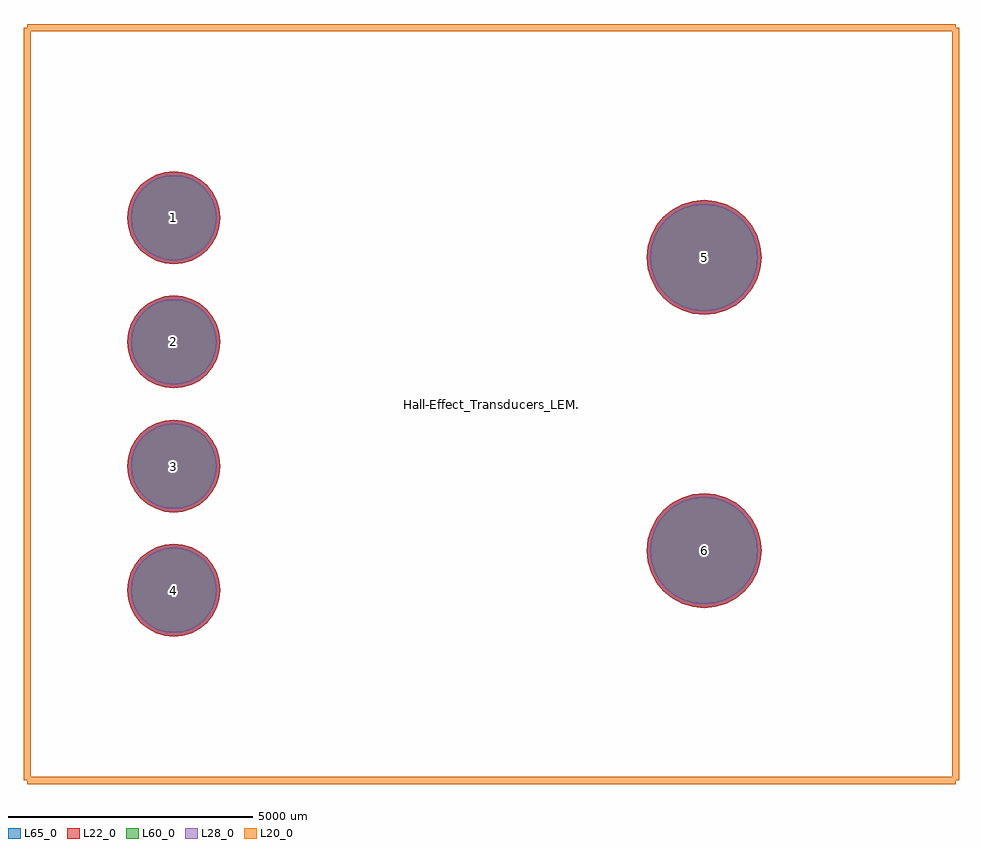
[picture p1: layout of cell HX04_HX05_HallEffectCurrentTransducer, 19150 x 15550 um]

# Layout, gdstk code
import gdstk
lib = gdstk.Library(unit=1e-6, precision=1e-09)
def P(c, l, *ps):  # polygons
    for p in ps: c.add(gdstk.Polygon(p, *l))
L20_0 = (20, 0)
L22_0 = (22, 0)
L28_0 = (28, 0)
L60_0 = (60, 0)
L65_0 = (65, 0)

hx04_hx05_halleffectcurr = lib.new_cell('HX04_HX05_HallEffectCurrentTransducer')
P(hx04_hx05_halleffectcurr, L22_0, [(-5550,-3810),(-5568.254,-3624.664),(-5622.314,-3446.451),(-5710.104,-3282.208),(-5828.249,-3138.249),(-5972.208,-3020.104),(-6136.451,-2932.314),(-6314.664,-2878.254),(-6500,-2860),(-6685.336,-2878.254),(-6863.549,-2932.314),(-7027.792,-3020.104),(-7171.751,-3138.249),(-7289.896,-3282.208),(-7377.686,-3446.451),(-7431.746,-3624.664),(-7450,-3810),(-7431.746,-3995.336),(-7377.686,-4173.549),(-7289.896,-4337.792),(-7171.751,-4481.751),(-7027.792,-4599.896),(-6863.549,-4687.686),(-6685.336,-4741.746),(-6500,-4760),(-6314.664,-4741.746),(-6136.451,-4687.686),(-5972.208,-4599.896),(-5828.249,-4481.751),(-5710.104,-4337.792),(-5622.314,-4173.549),(-5568.254,-3995.336)],
  [(-5550,3810),(-5568.254,3995.336),(-5622.314,4173.549),(-5710.104,4337.792),(-5828.249,4481.751),(-5972.208,4599.896),(-6136.451,4687.686),(-6314.664,4741.746),(-6500,4760),(-6685.336,4741.746),(-6863.549,4687.686),(-7027.792,4599.896),(-7171.751,4481.751),(-7289.896,4337.792),(-7377.686,4173.549),(-7431.746,3995.336),(-7450,3810),(-7431.746,3624.664),(-7377.686,3446.451),(-7289.896,3282.208),(-7171.751,3138.249),(-7027.792,3020.104),(-6863.549,2932.314),(-6685.336,2878.254),(-6500,2860),(-6314.664,2878.254),(-6136.451,2932.314),(-5972.208,3020.104),(-5828.249,3138.249),(-5710.104,3282.208),(-5622.314,3446.451),(-5568.254,3624.664)],
  [(-5550,1270),(-5568.254,1455.336),(-5622.314,1633.549),(-5710.104,1797.792),(-5828.249,1941.751),(-5972.208,2059.896),(-6136.451,2147.686),(-6314.664,2201.746),(-6500,2220),(-6685.336,2201.746),(-6863.549,2147.686),(-7027.792,2059.896),(-7171.751,1941.751),(-7289.896,1797.792),(-7377.686,1633.549),(-7431.746,1455.336),(-7450,1270),(-7431.746,1084.664),(-7377.686,906.451),(-7289.896,742.208),(-7171.751,598.249),(-7027.792,480.104),(-6863.549,392.314),(-6685.336,338.254),(-6500,320),(-6314.664,338.254),(-6136.451,392.314),(-5972.208,480.104),(-5828.249,598.249),(-5710.104,742.208),(-5622.314,906.451),(-5568.254,1084.664)],
  [(-5550,-1270),(-5568.254,-1084.664),(-5622.314,-906.451),(-5710.104,-742.208),(-5828.249,-598.249),(-5972.208,-480.104),(-6136.451,-392.314),(-6314.664,-338.254),(-6500,-320),(-6685.336,-338.254),(-6863.549,-392.314),(-7027.792,-480.104),(-7171.751,-598.249),(-7289.896,-742.208),(-7377.686,-906.451),(-7431.746,-1084.664),(-7450,-1270),(-7431.746,-1455.336),(-7377.686,-1633.549),(-7289.896,-1797.792),(-7171.751,-1941.751),(-7027.792,-2059.896),(-6863.549,-2147.686),(-6685.336,-2201.746),(-6500,-2220),(-6314.664,-2201.746),(-6136.451,-2147.686),(-5972.208,-2059.896),(-5828.249,-1941.751),(-5710.104,-1797.792),(-5622.314,-1633.549),(-5568.254,-1455.336)],
  [(5525,-3000),(5502.423,-2770.769),(5435.558,-2550.347),(5326.977,-2347.205),(5180.85,-2169.15),(5002.795,-2023.023),(4799.653,-1914.442),(4579.231,-1847.577),(4350,-1825),(4120.769,-1847.577),(3900.347,-1914.442),(3697.205,-2023.023),(3519.15,-2169.15),(3373.023,-2347.205),(3264.442,-2550.347),(3197.577,-2770.769),(3175,-3000),(3197.577,-3229.231),(3264.442,-3449.653),(3373.023,-3652.795),(3519.15,-3830.85),(3697.205,-3976.977),(3900.347,-4085.558),(4120.769,-4152.423),(4350,-4175),(4579.231,-4152.423),(4799.653,-4085.558),(5002.795,-3976.977),(5180.85,-3830.85),(5326.977,-3652.795),(5435.558,-3449.653),(5502.423,-3229.231)],
  [(5525,3000),(5502.423,3229.231),(5435.558,3449.653),(5326.977,3652.795),(5180.85,3830.85),(5002.795,3976.977),(4799.653,4085.558),(4579.231,4152.423),(4350,4175),(4120.769,4152.423),(3900.347,4085.558),(3697.205,3976.977),(3519.15,3830.85),(3373.023,3652.795),(3264.442,3449.653),(3197.577,3229.231),(3175,3000),(3197.577,2770.769),(3264.442,2550.347),(3373.023,2347.205),(3519.15,2169.15),(3697.205,2023.023),(3900.347,1914.442),(4120.769,1847.577),(4350,1825),(4579.231,1847.577),(4799.653,1914.442),(5002.795,2023.023),(5180.85,2169.15),(5326.977,2347.205),(5435.558,2550.347),(5502.423,2770.769)])
P(hx04_hx05_halleffectcurr, L28_0, [(-5625,-3810),(-5641.813,-3639.296),(-5691.605,-3475.152),(-5772.464,-3323.876),(-5881.282,-3191.282),(-6013.876,-3082.464),(-6165.152,-3001.605),(-6329.296,-2951.813),(-6500,-2935),(-6670.704,-2951.813),(-6834.848,-3001.605),(-6986.124,-3082.464),(-7118.718,-3191.282),(-7227.536,-3323.876),(-7308.395,-3475.152),(-7358.187,-3639.296),(-7375,-3810),(-7358.187,-3980.704),(-7308.395,-4144.848),(-7227.536,-4296.124),(-7118.718,-4428.718),(-6986.124,-4537.536),(-6834.848,-4618.395),(-6670.704,-4668.187),(-6500,-4685),(-6329.296,-4668.187),(-6165.152,-4618.395),(-6013.876,-4537.536),(-5881.282,-4428.718),(-5772.464,-4296.124),(-5691.605,-4144.848),(-5641.813,-3980.704)],
  [(-5625,3810),(-5641.813,3980.704),(-5691.605,4144.848),(-5772.464,4296.124),(-5881.282,4428.718),(-6013.876,4537.536),(-6165.152,4618.395),(-6329.296,4668.187),(-6500,4685),(-6670.704,4668.187),(-6834.848,4618.395),(-6986.124,4537.536),(-7118.718,4428.718),(-7227.536,4296.124),(-7308.395,4144.848),(-7358.187,3980.704),(-7375,3810),(-7358.187,3639.296),(-7308.395,3475.152),(-7227.536,3323.876),(-7118.718,3191.282),(-6986.124,3082.464),(-6834.848,3001.605),(-6670.704,2951.813),(-6500,2935),(-6329.296,2951.813),(-6165.152,3001.605),(-6013.876,3082.464),(-5881.282,3191.282),(-5772.464,3323.876),(-5691.605,3475.152),(-5641.813,3639.296)],
  [(-5625,1270),(-5641.813,1440.704),(-5691.605,1604.848),(-5772.464,1756.124),(-5881.282,1888.718),(-6013.876,1997.536),(-6165.152,2078.395),(-6329.296,2128.187),(-6500,2145),(-6670.704,2128.187),(-6834.848,2078.395),(-6986.124,1997.536),(-7118.718,1888.718),(-7227.536,1756.124),(-7308.395,1604.848),(-7358.187,1440.704),(-7375,1270),(-7358.187,1099.296),(-7308.395,935.152),(-7227.536,783.876),(-7118.718,651.282),(-6986.124,542.464),(-6834.848,461.605),(-6670.704,411.813),(-6500,395),(-6329.296,411.813),(-6165.152,461.605),(-6013.876,542.464),(-5881.282,651.282),(-5772.464,783.876),(-5691.605,935.152),(-5641.813,1099.296)],
  [(-5625,-1270),(-5641.813,-1099.296),(-5691.605,-935.152),(-5772.464,-783.876),(-5881.282,-651.282),(-6013.876,-542.464),(-6165.152,-461.605),(-6329.296,-411.813),(-6500,-395),(-6670.704,-411.813),(-6834.848,-461.605),(-6986.124,-542.464),(-7118.718,-651.282),(-7227.536,-783.876),(-7308.395,-935.152),(-7358.187,-1099.296),(-7375,-1270),(-7358.187,-1440.704),(-7308.395,-1604.848),(-7227.536,-1756.124),(-7118.718,-1888.718),(-6986.124,-1997.536),(-6834.848,-2078.395),(-6670.704,-2128.187),(-6500,-2145),(-6329.296,-2128.187),(-6165.152,-2078.395),(-6013.876,-1997.536),(-5881.282,-1888.718),(-5772.464,-1756.124),(-5691.605,-1604.848),(-5641.813,-1440.704)],
  [(5450,-3000),(5428.864,-2785.401),(5366.267,-2579.048),(5264.617,-2388.873),(5127.817,-2222.183),(4961.127,-2085.383),(4770.952,-1983.733),(4564.599,-1921.136),(4350,-1900),(4135.401,-1921.136),(3929.048,-1983.733),(3738.873,-2085.383),(3572.183,-2222.183),(3435.383,-2388.873),(3333.733,-2579.048),(3271.136,-2785.401),(3250,-3000),(3271.136,-3214.599),(3333.733,-3420.952),(3435.383,-3611.127),(3572.183,-3777.817),(3738.873,-3914.617),(3929.048,-4016.267),(4135.401,-4078.864),(4350,-4100),(4564.599,-4078.864),(4770.952,-4016.267),(4961.127,-3914.617),(5127.817,-3777.817),(5264.617,-3611.127),(5366.267,-3420.952),(5428.864,-3214.599)],
  [(5450,3000),(5428.864,3214.599),(5366.267,3420.952),(5264.617,3611.127),(5127.817,3777.817),(4961.127,3914.617),(4770.952,4016.267),(4564.599,4078.864),(4350,4100),(4135.401,4078.864),(3929.048,4016.267),(3738.873,3914.617),(3572.183,3777.817),(3435.383,3611.127),(3333.733,3420.952),(3271.136,3214.599),(3250,3000),(3271.136,2785.401),(3333.733,2579.048),(3435.383,2388.873),(3572.183,2222.183),(3738.873,2085.383),(3929.048,1983.733),(4135.401,1921.136),(4350,1900),(4564.599,1921.136),(4770.952,1983.733),(4961.127,2085.383),(5127.817,2222.183),(5264.617,2388.873),(5366.267,2579.048),(5428.864,2785.401)])
P(hx04_hx05_halleffectcurr, L60_0, [(-5625,-3810),(-5641.813,-3639.296),(-5691.605,-3475.152),(-5772.464,-3323.876),(-5881.282,-3191.282),(-6013.876,-3082.464),(-6165.152,-3001.605),(-6329.296,-2951.813),(-6500,-2935),(-6670.704,-2951.813),(-6834.848,-3001.605),(-6986.124,-3082.464),(-7118.718,-3191.282),(-7227.536,-3323.876),(-7308.395,-3475.152),(-7358.187,-3639.296),(-7375,-3810),(-7358.187,-3980.704),(-7308.395,-4144.848),(-7227.536,-4296.124),(-7118.718,-4428.718),(-6986.124,-4537.536),(-6834.848,-4618.395),(-6670.704,-4668.187),(-6500,-4685),(-6329.296,-4668.187),(-6165.152,-4618.395),(-6013.876,-4537.536),(-5881.282,-4428.718),(-5772.464,-4296.124),(-5691.605,-4144.848),(-5641.813,-3980.704)],
  [(-5625,3810),(-5641.813,3980.704),(-5691.605,4144.848),(-5772.464,4296.124),(-5881.282,4428.718),(-6013.876,4537.536),(-6165.152,4618.395),(-6329.296,4668.187),(-6500,4685),(-6670.704,4668.187),(-6834.848,4618.395),(-6986.124,4537.536),(-7118.718,4428.718),(-7227.536,4296.124),(-7308.395,4144.848),(-7358.187,3980.704),(-7375,3810),(-7358.187,3639.296),(-7308.395,3475.152),(-7227.536,3323.876),(-7118.718,3191.282),(-6986.124,3082.464),(-6834.848,3001.605),(-6670.704,2951.813),(-6500,2935),(-6329.296,2951.813),(-6165.152,3001.605),(-6013.876,3082.464),(-5881.282,3191.282),(-5772.464,3323.876),(-5691.605,3475.152),(-5641.813,3639.296)],
  [(-5625,1270),(-5641.813,1440.704),(-5691.605,1604.848),(-5772.464,1756.124),(-5881.282,1888.718),(-6013.876,1997.536),(-6165.152,2078.395),(-6329.296,2128.187),(-6500,2145),(-6670.704,2128.187),(-6834.848,2078.395),(-6986.124,1997.536),(-7118.718,1888.718),(-7227.536,1756.124),(-7308.395,1604.848),(-7358.187,1440.704),(-7375,1270),(-7358.187,1099.296),(-7308.395,935.152),(-7227.536,783.876),(-7118.718,651.282),(-6986.124,542.464),(-6834.848,461.605),(-6670.704,411.813),(-6500,395),(-6329.296,411.813),(-6165.152,461.605),(-6013.876,542.464),(-5881.282,651.282),(-5772.464,783.876),(-5691.605,935.152),(-5641.813,1099.296)],
  [(-5625,-1270),(-5641.813,-1099.296),(-5691.605,-935.152),(-5772.464,-783.876),(-5881.282,-651.282),(-6013.876,-542.464),(-6165.152,-461.605),(-6329.296,-411.813),(-6500,-395),(-6670.704,-411.813),(-6834.848,-461.605),(-6986.124,-542.464),(-7118.718,-651.282),(-7227.536,-783.876),(-7308.395,-935.152),(-7358.187,-1099.296),(-7375,-1270),(-7358.187,-1440.704),(-7308.395,-1604.848),(-7227.536,-1756.124),(-7118.718,-1888.718),(-6986.124,-1997.536),(-6834.848,-2078.395),(-6670.704,-2128.187),(-6500,-2145),(-6329.296,-2128.187),(-6165.152,-2078.395),(-6013.876,-1997.536),(-5881.282,-1888.718),(-5772.464,-1756.124),(-5691.605,-1604.848),(-5641.813,-1440.704)],
  [(5450,-3000),(5428.864,-2785.401),(5366.267,-2579.048),(5264.617,-2388.873),(5127.817,-2222.183),(4961.127,-2085.383),(4770.952,-1983.733),(4564.599,-1921.136),(4350,-1900),(4135.401,-1921.136),(3929.048,-1983.733),(3738.873,-2085.383),(3572.183,-2222.183),(3435.383,-2388.873),(3333.733,-2579.048),(3271.136,-2785.401),(3250,-3000),(3271.136,-3214.599),(3333.733,-3420.952),(3435.383,-3611.127),(3572.183,-3777.817),(3738.873,-3914.617),(3929.048,-4016.267),(4135.401,-4078.864),(4350,-4100),(4564.599,-4078.864),(4770.952,-4016.267),(4961.127,-3914.617),(5127.817,-3777.817),(5264.617,-3611.127),(5366.267,-3420.952),(5428.864,-3214.599)],
  [(5450,3000),(5428.864,3214.599),(5366.267,3420.952),(5264.617,3611.127),(5127.817,3777.817),(4961.127,3914.617),(4770.952,4016.267),(4564.599,4078.864),(4350,4100),(4135.401,4078.864),(3929.048,4016.267),(3738.873,3914.617),(3572.183,3777.817),(3435.383,3611.127),(3333.733,3420.952),(3271.136,3214.599),(3250,3000),(3271.136,2785.401),(3333.733,2579.048),(3435.383,2388.873),(3572.183,2222.183),(3738.873,2085.383),(3929.048,1983.733),(4135.401,1921.136),(4350,1900),(4564.599,1921.136),(4770.952,1983.733),(4961.127,2085.383),(5127.817,2222.183),(5264.617,2388.873),(5366.267,2579.048),(5428.864,2785.401)])
P(hx04_hx05_halleffectcurr, L65_0, [(-5550,-3810),(-5568.254,-3624.664),(-5622.314,-3446.451),(-5710.104,-3282.208),(-5828.249,-3138.249),(-5972.208,-3020.104),(-6136.451,-2932.314),(-6314.664,-2878.254),(-6500,-2860),(-6685.336,-2878.254),(-6863.549,-2932.314),(-7027.792,-3020.104),(-7171.751,-3138.249),(-7289.896,-3282.208),(-7377.686,-3446.451),(-7431.746,-3624.664),(-7450,-3810),(-7431.746,-3995.336),(-7377.686,-4173.549),(-7289.896,-4337.792),(-7171.751,-4481.751),(-7027.792,-4599.896),(-6863.549,-4687.686),(-6685.336,-4741.746),(-6500,-4760),(-6314.664,-4741.746),(-6136.451,-4687.686),(-5972.208,-4599.896),(-5828.249,-4481.751),(-5710.104,-4337.792),(-5622.314,-4173.549),(-5568.254,-3995.336)],
  [(-5550,3810),(-5568.254,3995.336),(-5622.314,4173.549),(-5710.104,4337.792),(-5828.249,4481.751),(-5972.208,4599.896),(-6136.451,4687.686),(-6314.664,4741.746),(-6500,4760),(-6685.336,4741.746),(-6863.549,4687.686),(-7027.792,4599.896),(-7171.751,4481.751),(-7289.896,4337.792),(-7377.686,4173.549),(-7431.746,3995.336),(-7450,3810),(-7431.746,3624.664),(-7377.686,3446.451),(-7289.896,3282.208),(-7171.751,3138.249),(-7027.792,3020.104),(-6863.549,2932.314),(-6685.336,2878.254),(-6500,2860),(-6314.664,2878.254),(-6136.451,2932.314),(-5972.208,3020.104),(-5828.249,3138.249),(-5710.104,3282.208),(-5622.314,3446.451),(-5568.254,3624.664)],
  [(-5550,1270),(-5568.254,1455.336),(-5622.314,1633.549),(-5710.104,1797.792),(-5828.249,1941.751),(-5972.208,2059.896),(-6136.451,2147.686),(-6314.664,2201.746),(-6500,2220),(-6685.336,2201.746),(-6863.549,2147.686),(-7027.792,2059.896),(-7171.751,1941.751),(-7289.896,1797.792),(-7377.686,1633.549),(-7431.746,1455.336),(-7450,1270),(-7431.746,1084.664),(-7377.686,906.451),(-7289.896,742.208),(-7171.751,598.249),(-7027.792,480.104),(-6863.549,392.314),(-6685.336,338.254),(-6500,320),(-6314.664,338.254),(-6136.451,392.314),(-5972.208,480.104),(-5828.249,598.249),(-5710.104,742.208),(-5622.314,906.451),(-5568.254,1084.664)],
  [(-5550,-1270),(-5568.254,-1084.664),(-5622.314,-906.451),(-5710.104,-742.208),(-5828.249,-598.249),(-5972.208,-480.104),(-6136.451,-392.314),(-6314.664,-338.254),(-6500,-320),(-6685.336,-338.254),(-6863.549,-392.314),(-7027.792,-480.104),(-7171.751,-598.249),(-7289.896,-742.208),(-7377.686,-906.451),(-7431.746,-1084.664),(-7450,-1270),(-7431.746,-1455.336),(-7377.686,-1633.549),(-7289.896,-1797.792),(-7171.751,-1941.751),(-7027.792,-2059.896),(-6863.549,-2147.686),(-6685.336,-2201.746),(-6500,-2220),(-6314.664,-2201.746),(-6136.451,-2147.686),(-5972.208,-2059.896),(-5828.249,-1941.751),(-5710.104,-1797.792),(-5622.314,-1633.549),(-5568.254,-1455.336)],
  [(5525,-3000),(5502.423,-2770.769),(5435.558,-2550.347),(5326.977,-2347.205),(5180.85,-2169.15),(5002.795,-2023.023),(4799.653,-1914.442),(4579.231,-1847.577),(4350,-1825),(4120.769,-1847.577),(3900.347,-1914.442),(3697.205,-2023.023),(3519.15,-2169.15),(3373.023,-2347.205),(3264.442,-2550.347),(3197.577,-2770.769),(3175,-3000),(3197.577,-3229.231),(3264.442,-3449.653),(3373.023,-3652.795),(3519.15,-3830.85),(3697.205,-3976.977),(3900.347,-4085.558),(4120.769,-4152.423),(4350,-4175),(4579.231,-4152.423),(4799.653,-4085.558),(5002.795,-3976.977),(5180.85,-3830.85),(5326.977,-3652.795),(5435.558,-3449.653),(5502.423,-3229.231)],
  [(5525,3000),(5502.423,3229.231),(5435.558,3449.653),(5326.977,3652.795),(5180.85,3830.85),(5002.795,3976.977),(4799.653,4085.558),(4579.231,4152.423),(4350,4175),(4120.769,4152.423),(3900.347,4085.558),(3697.205,3976.977),(3519.15,3830.85),(3373.023,3652.795),(3264.442,3449.653),(3197.577,3229.231),(3175,3000),(3197.577,2770.769),(3264.442,2550.347),(3373.023,2347.205),(3519.15,2169.15),(3697.205,2023.023),(3900.347,1914.442),(4120.769,1847.577),(4350,1825),(4579.231,1847.577),(4799.653,1914.442),(5002.795,2023.023),(5180.85,2169.15),(5326.977,2347.205),(5435.558,2550.347),(5502.423,2770.769)])
hx04_hx05_halleffectcurr.add(gdstk.FlexPath([(-9500,7700),(-9500,-7700)], 149.998, ends="flush", simple_path=True, layer=20, datatype=0))  # L20_0
hx04_hx05_halleffectcurr.add(gdstk.FlexPath([(9500,7700),(-9500,7700)], 149.998, ends="flush", simple_path=True, layer=20, datatype=0))  # L20_0
hx04_hx05_halleffectcurr.add(gdstk.FlexPath([(9500,-7700),(9500,7700)], 149.998, ends="flush", simple_path=True, layer=20, datatype=0))  # L20_0
hx04_hx05_halleffectcurr.add(gdstk.FlexPath([(-9500,-7700),(9500,-7700)], 149.998, ends="flush", simple_path=True, layer=20, datatype=0))  # L20_0
hx04_hx05_halleffectcurr.add(gdstk.Label('Hall-Effect_Transducers_LEM.3dshapes/HX04_HX05_HallEffectCurrentTransducer.wrl', (0,0), layer=12, texttype=0))
hx04_hx05_halleffectcurr.add(gdstk.Label('4', (-6500,-3810), layer=28, texttype=0))
hx04_hx05_halleffectcurr.add(gdstk.Label('1', (-6500,3810), layer=28, texttype=0))
hx04_hx05_halleffectcurr.add(gdstk.Label('2', (-6500,1270), layer=28, texttype=0))
hx04_hx05_halleffectcurr.add(gdstk.Label('3', (-6500,-1270), layer=28, texttype=0))
hx04_hx05_halleffectcurr.add(gdstk.Label('6', (4350,-3000), layer=28, texttype=0))
hx04_hx05_halleffectcurr.add(gdstk.Label('5', (4350,3000), layer=28, texttype=0))
hx04_hx05_halleffectcurr.add(gdstk.Label('type', (100,-10200), layer=9, texttype=0))
hx04_hx05_halleffectcurr.add(gdstk.Label('devicename', (100,10800), layer=9, texttype=0))

lib.write_gds('HX04_HX05_HallEffectCurrentTransducer.gds')
